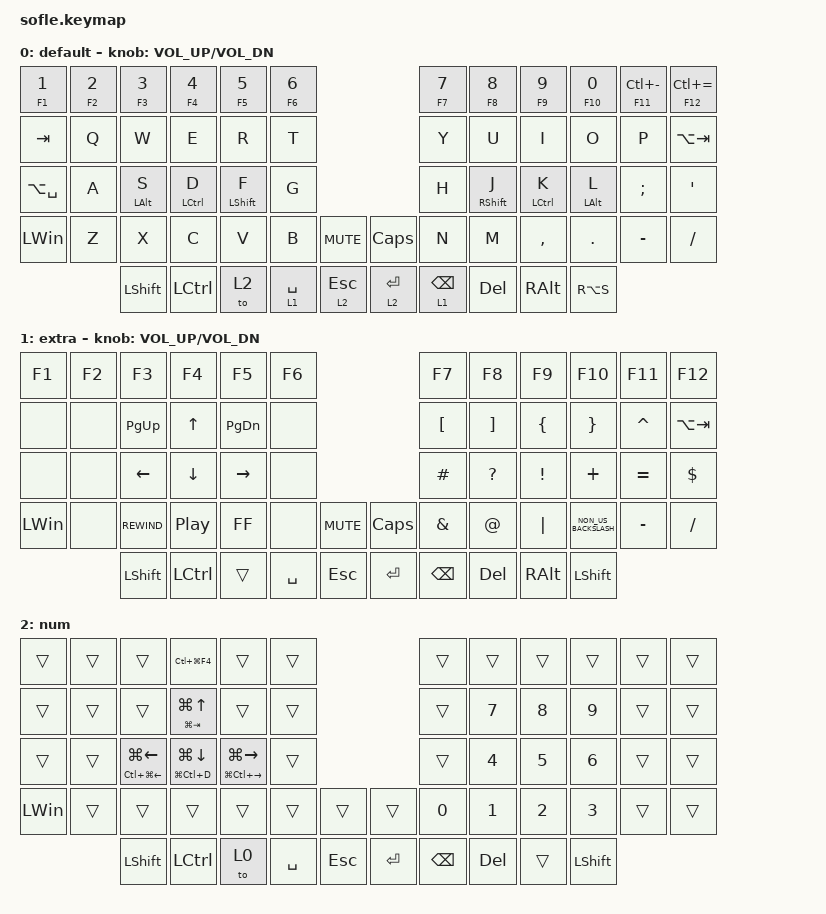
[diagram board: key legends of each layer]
/*
 * Copyright (c) 2020 The ZMK Contributors
 *
 * SPDX-License-Identifier: MIT
 */

#include <behaviors.dtsi>
#include <dt-bindings/zmk/keys.h>

/*
// Encoders

&sensors { triggers-per-rotation = <30>; };

&left_encoder { steps = <60>; };

&right_encoder { steps = <60>; };
*/

#define BASE 0
#define LOWER 1
#define RAISE 2
#define ADJUST 3
#define EXTRA 4

/ {
    combos { compatible = "zmk,combos"; };

    behaviors {
        HRK_left_ctrl_alt: HRK_left_ctrl_alt {
            compatible = "zmk,behavior-hold-tap";
            label = "HRK_LEFT_CTRL_ALT";
            bindings = <&kp>, <&kp>;

            #binding-cells = <2>;
            tapping-term-ms = <200>;
            retro-tap;
            hold-trigger-key-positions = <6 7 8 9 10 11 18 19 20 21 22 23 30 31 32 33 34 35 43 44 45 46 47 48 49 55 56 57 58 59>;
            hold-trigger-on-release;
            flavor = "balanced";
            require-prior-idle-ms = <125>;
            quick-tap-ms = <175>;
        };

        HRK_right_ctrl_alt: HRK_right_ctrl_alt {
            compatible = "zmk,behavior-hold-tap";
            label = "HRK_RIGHT_CTRL_ALT";
            bindings = <&kp>, <&kp>;

            #binding-cells = <2>;
            tapping-term-ms = <200>;
            retro-tap;
            hold-trigger-on-release;
            hold-trigger-key-positions = <0 1 2 3 4 5 12 13 14 15 16 17 24 25 26 27 28 29 36 37 38 39 40 41 42 50 51 52 53 54>;
            flavor = "balanced";
            quick-tap-ms = <175>;
            require-prior-idle-ms = <125>;
        };

        hold_control: hold_control {
            compatible = "zmk,behavior-hold-tap";
            label = "HOLD_CONTROL";
            bindings = <&kp>, <&kp>;

            #binding-cells = <2>;
            tapping-term-ms = <400>;
            flavor = "tap-preferred";
            hold-trigger-on-release;
        };

        hrk_left_shift: hrk_left_shift {
            compatible = "zmk,behavior-hold-tap";
            label = "HRK_LEFT_SHIFT";
            bindings = <&kp>, <&kp>;

            #binding-cells = <2>;
            tapping-term-ms = <150>;
            retro-tap;
            hold-trigger-key-positions = <6 7 8 9 10 11 18 19 20 21 22 23 30 31 32 33 34 35 43 44 45 46 47 48 49 55 56 57 58 59>;
            hold-trigger-on-release;
            flavor = "tap-preferred";
            quick-tap-ms = <175>;
        };

        hrk_right_shift: hrk_right_shift {
            compatible = "zmk,behavior-hold-tap";
            label = "HRK_RIGHT_SHIFT";
            bindings = <&kp>, <&kp>;

            #binding-cells = <2>;
            tapping-term-ms = <150>;
            retro-tap;
            hold-trigger-on-release;
            flavor = "tap-preferred";
            hold-trigger-key-positions = <0 1 2 3 4 5 12 13 14 15 16 17 24 25 26 27 28 29 36 37 38 39 40 41 42 50 51 52 53 54>;
            quick-tap-ms = <175>;
        };
    };

    keymap {
        compatible = "zmk,keymap";

        // swap C_MUTE & EQUAL for encoder on the right

        default_layer {
            display-name = "default";

            // ------------------------------------------------------------------------------------------------------------
            // |   `   |  1  |  2  |  3   |  4   |  5   |                   |  6   |  7    |  8    |  9   |   0   |       |
            // |  ESC  |  Q  |  W  |  E   |  R   |  T   |                   |  Y   |  U    |  I    |  O   |   P   | BKSPC |
            // |  TAB  |  A  |  S  |  D   |  F   |  G   |                   |  H   |  J    |  K    |  L   |   ;   |   '   |
            // | SHIFT |  Z  |  X  |  C   |  V   |  B   |  MUTE  |  |       |  N   |  M    |  ,    |  .   |   /   | SHIFT |
            //               | GUI | ALT  | CTRL | LOWER|  ENTER |  | SPACE | RAISE| CTRL  | ALT   | GUI  |

            bindings = <
&hold_control F1 NUMBER_1  &hold_control F2 NUMBER_2  &hold_control F3 NUMBER_3      &hold_control F4 NUMBER_4          &hold_control F5 N5           &hold_control F6 NUMBER_6                                &hold_control F7 N7  &hold_control F8 N8             &hold_control F9 N9                 &hold_control F10 N0            &hold_control F11 LC(MINUS)  &hold_control F12 LC(EQUAL)
&kp TAB                    &kp Q                      &kp W                          &kp E                              &kp R                         &kp T                                                    &kp Y                &kp U                           &kp I                               &kp O                           &kp P                        &kp LA(TAB)
&kp LA(SPACE)              &kp A                      &HRK_left_ctrl_alt LEFT_ALT S  &HRK_left_ctrl_alt LEFT_CONTROL D  &hrk_left_shift LEFT_SHIFT F  &kp G                                                    &kp H                &hrk_right_shift RIGHT_SHIFT J  &HRK_right_ctrl_alt LEFT_CONTROL K  &HRK_right_ctrl_alt LEFT_ALT L  &kp SEMI                     &kp SINGLE_QUOTE
&kp LEFT_WIN               &kp Z                      &kp X                          &kp C                              &kp V                         &kp B                      &kp K_MUTE      &kp CAPSLOCK  &kp N                &kp M                           &kp COMMA                           &kp DOT                         &kp MINUS                    &kp SLASH
                                                      &kp LEFT_SHIFT                 &kp LEFT_CONTROL                   &to 2                         &lt 1 SPACE                &lt 2 ESCAPE    &lt 2 ENTER   &lt 1 BACKSPACE      &kp DEL                         &kp RIGHT_ALT                       &kp RA(S)
            >;

            sensor-bindings = <&inc_dec_kp C_VOL_UP C_VOL_DN>;
        };

        special_chars {
            // ----------------------------------------------------------------------------------------------------------------------------
            // | BTCLR  |  BT1    |  BT2    |   BT3   |   BT4   |   BT5   |                  |      |      |       |      |       |       |
            // | EXTPWR | RGB_HUD | RGB_HUI | RGB_SAD | RGB_SAI | RGB_EFF |                  |      |      |       |      |       |       |
            // |        | RGB_BRD | RGB_BRI |         |         |         |                  |      |      |       |      |       |       |
            // |        |         |         |         |         |         | RGB_TOG | |      |      |      |       |      |       |       |
            //                    |         |         |         |         |         | |      |      |      |       |      |

            display-name = "extra";
            bindings = <
&kp F1        &kp F2  &kp F3          &kp F4            &kp F5           &kp F6                              &kp F7            &kp F8             &kp F9          &kp F10               &kp F11    &kp F12
&none         &none   &kp PAGE_UP     &kp UP_ARROW      &kp PAGE_DOWN    &none                               &kp LEFT_BRACKET  &kp RIGHT_BRACKET  &kp LEFT_BRACE  &kp RIGHT_BRACE       &kp CARET  &kp LA(TAB)
&none         &none   &kp LEFT_ARROW  &kp DOWN_ARROW    &kp RIGHT_ARROW  &none                               &kp HASH          &kp QUESTION       &kp EXCL        &kp PLUS              &kp EQUAL  &kp DOLLAR
&kp LEFT_WIN  &none   &kp C_REWIND    &kp C_PLAY_PAUSE  &kp C_FF         &none      &kp K_MUTE    &kp CLCK   &kp AMPERSAND     &kp AT_SIGN        &kp PIPE        &kp NON_US_BACKSLASH  &kp MINUS  &kp SLASH
                      &kp LEFT_SHIFT  &kp LEFT_CONTROL  &trans           &kp SPACE  &kp ESCAPE    &kp ENTER  &kp BACKSPACE     &kp DEL            &kp RIGHT_ALT   &kp LEFT_SHIFT
            >;

            sensor-bindings = <&inc_dec_kp C_VOL_UP C_VOL_DN>;
        };

        num {
            bindings = <
&trans        &trans  &trans                               &kp LC(LG(F4))                          &trans                                       &trans                              &trans         &trans        &trans        &trans          &trans  &trans
&trans        &trans  &trans                               &hold_control LG(TAB) LG(UP_ARROW)      &trans                                       &trans                              &trans         &kp N7        &kp N8        &kp N9          &trans  &trans
&trans        &trans  &hold_control LC(LG(LEFT)) LG(LEFT)  &hold_control LG(LC(D)) LG(DOWN_ARROW)  &hold_control LG(LC(RIGHT_ARROW)) LG(RIGHT)  &trans                              &trans         &kp NUMBER_4  &kp N5        &kp NUMBER_6    &trans  &trans
&kp LEFT_WIN  &trans  &trans                               &trans                                  &trans                                       &trans     &trans        &trans     &kp N0         &kp NUMBER_1  &kp NUMBER_2  &kp NUMBER_3    &trans  &trans
                      &kp LEFT_SHIFT                       &kp LEFT_CONTROL                        &to 0                                        &kp SPACE  &kp ESCAPE    &kp ENTER  &kp BACKSPACE  &kp DEL       &trans        &kp LEFT_SHIFT
            >;
        };
    };

    conditional_layers { compatible = "zmk,conditional-layers"; };
};
